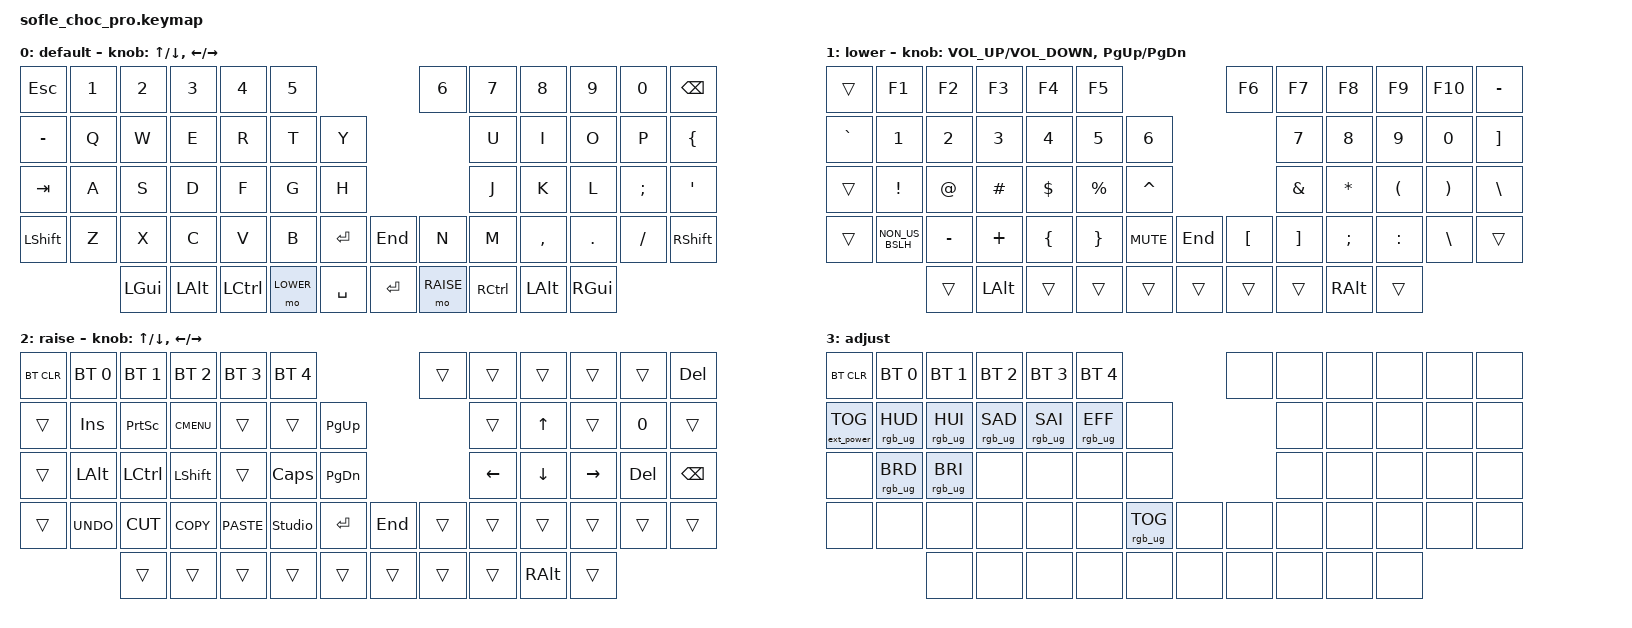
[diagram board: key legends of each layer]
/*
* Copyright (c) 2020 The ZMK Contributors
*
* SPDX-License-Identifier: MIT
*/

#include <behaviors.dtsi>
#include <dt-bindings/zmk/bt.h>
#include <dt-bindings/zmk/ext_power.h>
#include <dt-bindings/zmk/keys.h>
#include <dt-bindings/zmk/rgb.h>

#define BASE 0
#define LOWER 1
#define RAISE 2
#define ADJUST 3

/ {
    // Activate ADJUST layer by pressing raise and lower

    conditional_layers {
        compatible = "zmk,conditional-layers";

        adjust_layer {
            if-layers = <LOWER RAISE>;
            then-layer = <ADJUST>;
        };
    };

    keymap {
        compatible = "zmk,keymap";

        default_layer {
            display-name = "default";

            // ------------------------------------------------------------------------------------------------------------
            // |   `   |  1  |  2  |  3   |  4   |  5   |                   |  6   |  7    |  8    |  9   |   0   |   `   |
            // |  ESC  |  Q  |  W  |  E   |  R   |  T   |                   |  Y   |  U    |  I    |  O   |   P   | BKSPC |
            // |  TAB  |  A  |  S  |  D   |  F   |  G   |                   |  H   |  J    |  K    |  L   |   ;   |   '   |
            // | SHIFT |  Z  |  X  |  C   |  V   |  B   |  MUTE  |  | PLAY  |  N   |  M    |  ,    |  .   |   /   | SHIFT |
            //               | GUI | ALT  | CTRL | LOWER|  ENTER |  | SPACE | RAISE| CTRL  | ALT   | GUI  |

            bindings = <
&kp ESCAPE  &kp N1  &kp N2    &kp N3    &kp N4     &kp N5                         &kp N6     &kp N7     &kp N8        &kp N9    &kp N0    &kp BACKSPACE
&kp MINUS   &kp Q   &kp W     &kp E     &kp R      &kp T      &kp Y                          &kp U      &kp I         &kp O     &kp P     &kp LEFT_BRACE
&kp TAB     &kp A   &kp S     &kp D     &kp F      &kp G      &kp H                          &kp J      &kp K         &kp L     &kp SEMI  &kp SQT
&kp LSHFT   &kp Z   &kp X     &kp C     &kp V      &kp B      &kp ENTER  &kp END  &kp N      &kp M      &kp COMMA     &kp DOT   &kp FSLH  &kp RSHFT
                    &kp LGUI  &kp LALT  &kp LCTRL  &mo LOWER  &kp SPACE  &kp RET  &mo RAISE  &kp RCTRL  &kp LEFT_ALT  &kp RGUI
            >;

            sensor-bindings =
                <&inc_dec_kp UP_ARROW DOWN>,
                <&inc_dec_kp LEFT RIGHT>;
        };

        lower_layer {
            display-name = "lower";

            // ------------------------------------------------------------------------------------------------------------
            // |       |  F1 |  F2 |  F3  |  F4  |  F5  |                   |  F6  |  F7   |  F8   |  F9  |  F10  |  F11  |
            // |   `   |  1  |  2  |  3   |  4   |  5   |                   |  6   |  7    |  8    |  9   |   0   |  F12  |
            // |       |  !  |  @  |  #   |  $   |  %   |                   |  ^   |  &    |  *    |  (   |   )   |   |   |
            // |       |  =  |  -  |  +   |  {   |  }   |        |  |       |  [   |  ]    |  ;    |  :   |   \   |       |
            //               |     |      |      |      |        |  |       |      |       |       |      |

            bindings = <
&trans     &kp F1           &kp F2     &kp F3        &kp F4    &kp F5                          &kp F6    &kp F7    &kp F8         &kp F9     &kp F10   &kp MINUS
&kp GRAVE  &kp N1           &kp N2     &kp N3        &kp N4    &kp N5     &kp N6                         &kp N7    &kp N8         &kp N9     &kp N0    &kp RIGHT_BRACKET
&trans     &kp EXCL         &kp AT     &kp HASH      &kp DLLR  &kp PRCNT  &kp CARET                      &kp AMPS  &kp ASTRK      &kp LPAR   &kp RPAR  &kp BSLH
&trans     &kp NON_US_BSLH  &kp MINUS  &kp PLUS      &kp LBRC  &kp RBRC   &kp K_MUTE  &kp END  &kp LBKT  &kp RBKT  &kp SEMI       &kp COLON  &kp BSLH  &trans
                            &trans     &kp LEFT_ALT  &trans    &trans     &trans      &trans   &trans    &trans    &kp RIGHT_ALT  &trans
            >;

            sensor-bindings =
                <&inc_dec_kp C_VOLUME_UP C_VOLUME_DOWN>,
                <&inc_dec_kp PAGE_UP PAGE_DOWN>;
        };

        raise_layer {
            display-name = "raise";

            // ------------------------------------------------------------------------------------------------------------
            // | BTCLR | BT1  | BT2  |  BT3  |  BT4  |  BT5 |                |      |      |       |      |       |       |
            // |       | INS  | PSCR | GUI   |       |      |                | PGUP |      |   ^   |      |       |       |
            // |       | ALT  | CTRL | SHIFT |       | CAPS |                | PGDN |   <- |   v   |  ->  |  DEL  | BKSPC |
            // |       | UNDO | CUT  | COPY  | PASTE |      |      |  |      |      |      |       |      |       |       |
            //                |      |       |       |      |      |  |      |      |      |       |      |

            bindings = <
&bt BT_CLR  &bt BT_SEL 0  &bt BT_SEL 1  &bt BT_SEL 2  &bt BT_SEL 3  &bt BT_SEL 4                        &trans  &trans    &trans         &trans     &trans   &kp DELETE
&trans      &kp INS       &kp PSCRN     &kp K_CMENU   &trans        &trans          &kp PG_UP                   &trans    &kp UP         &trans     &kp N0   &trans
&trans      &kp LALT      &kp LCTRL     &kp LSHFT     &trans        &kp CLCK        &kp PG_DN                   &kp LEFT  &kp DOWN       &kp RIGHT  &kp DEL  &kp BSPC
&trans      &kp K_UNDO    &kp K_CUT     &kp K_COPY    &kp K_PASTE   &studio_unlock  &kp RET    &kp END  &trans  &trans    &trans         &trans     &trans   &trans
                          &trans        &trans        &trans        &trans          &trans     &trans   &trans  &trans    &kp RIGHT_ALT  &trans
            >;

            sensor-bindings =
                <&inc_dec_kp UP_ARROW DOWN>,
                <&inc_dec_kp LEFT RIGHT>;
        };

        adjust_layer {
            // ----------------------------------------------------------------------------------------------------------------------------
            // | BTCLR  |  BT1    |  BT2    |   BT3   |   BT4   |   BT5   |                  |      |      |       |      |       |       |
            // | EXTPWR | RGB_HUD | RGB_HUI | RGB_SAD | RGB_SAI | RGB_EFF |                  |      |      |       |      |       |       |
            // |        | RGB_BRD | RGB_BRI |         |         |         |                  |      |      |       |      |       |       |
            // |        |         |         |         |         |         | RGB_TOG | |      |      |      |       |      |       |       |
            //                    |         |         |         |         |         | |      |      |      |       |      |

            display-name = "adjust";
            bindings = <
&bt BT_CLR         &bt BT_SEL 0     &bt BT_SEL 1     &bt BT_SEL 2     &bt BT_SEL 3     &bt BT_SEL 4                             &none  &none  &none  &none  &none  &none
&ext_power EP_TOG  &rgb_ug RGB_HUD  &rgb_ug RGB_HUI  &rgb_ug RGB_SAD  &rgb_ug RGB_SAI  &rgb_ug RGB_EFF  &none                          &none  &none  &none  &none  &none
&none              &rgb_ug RGB_BRD  &rgb_ug RGB_BRI  &none            &none            &none            &none                          &none  &none  &none  &none  &none
&none              &none            &none            &none            &none            &none            &rgb_ug RGB_TOG  &none  &none  &none  &none  &none  &none  &none
                                    &none            &none            &none            &none            &none            &none  &none  &none  &none  &none
            >;
        };
    };
};
